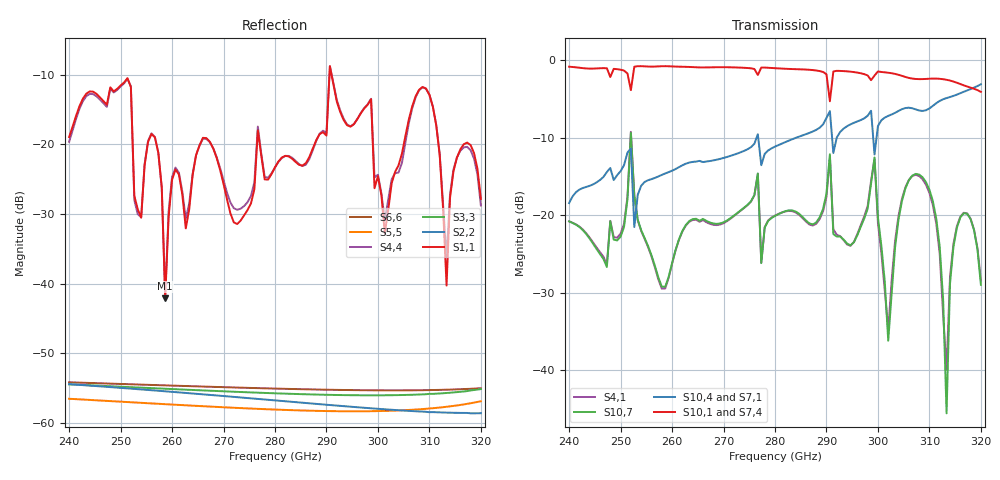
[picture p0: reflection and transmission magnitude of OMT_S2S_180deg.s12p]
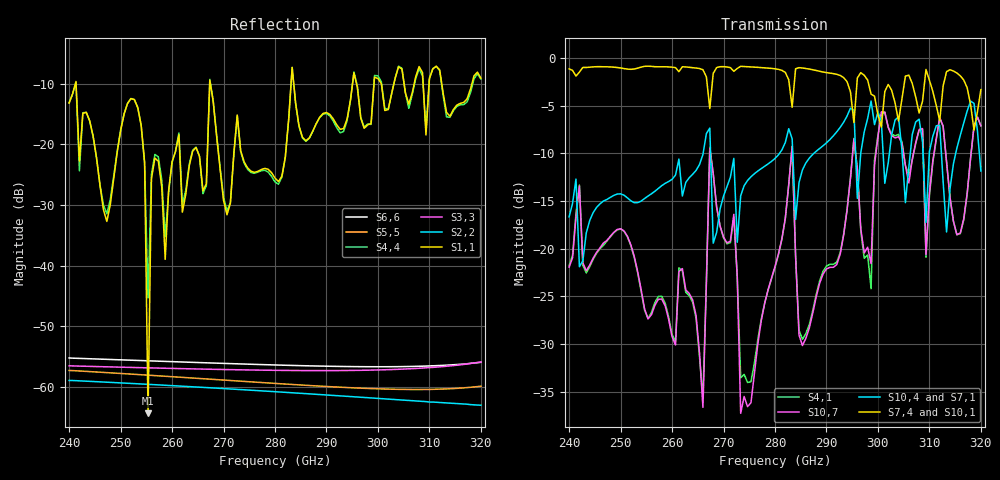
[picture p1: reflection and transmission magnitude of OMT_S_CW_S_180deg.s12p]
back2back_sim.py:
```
import numpy as np
import skrf as rf
import matplotlib.pyplot as plt
from pathlib import Path

def cascade_omts_vdi(S_single, wg_length_mm=None, freq_ghz=None):
    """
    VDI 측정 구조(Rect-Cir-Rect)를 위한 GSM 결합 함수
    S_single: 단일 OMT의 S9P 데이터 (N_freq, 9, 9)
    """
    num_f = S_single.shape[0]
    
    # 인덱스 설정 (요청하신 맵핑)
    # [0,1,2]: Cir 3 (내부) | [3,4,5]: Rect 1 (외부) | [6,7,8]: Rect 2 (외부)
    int_idx = np.array([0, 1, 2])
    ext_idx = np.array([3, 4, 5, 6, 7, 8])
    
    # 1. 단일 소자 행렬 분할
    S_AA = S_single[:, ext_idx[:, None], ext_idx]
    S_AB = S_single[:, ext_idx[:, None], int_idx]
    S_BA = S_single[:, int_idx[:, None], ext_idx]
    S_BB = S_single[:, int_idx[:, None], int_idx]
    
    # 2. 중간 원형 도파관 효과 (Phase Shift) 추가
    # 별도의 S-parameter 파일이 없다면 위상 천이 행렬 생성
    if wg_length_mm is not None and freq_ghz is not None:
        # 270GHz 대역 TE11 모드의 위상 정수 계산 (간략화)
        c = 299792458
        fc = 175e9 # 원형 도파관 TE11 Cutoff 예시
        beta = 2 * np.pi * (freq_ghz * 1e9) / c * np.sqrt(1 - (fc/(freq_ghz*1e9))**2)
        phi = np.exp(-1j * beta * (wg_length_mm / 1000))
        
        # 중간 도파관 S-행렬 (2포트 멀티모드)
        T_WG = np.zeros((num_f, 3, 3), dtype=complex)
        for i in range(3): T_WG[:, i, i] = phi
    else:
        T_WG = np.repeat(np.eye(3, dtype=complex)[None, :, :], num_f, axis=0) # 거리 0인 경우
    
    # 3. GSM 결합 수식 (Redheffer Star Product)
    I = np.eye(3).reshape(1, 3, 3)
    # OMT_A와 OMT_B(동일소자) 결합
    Gamma = np.linalg.inv(I - S_BB @ T_WG @ S_BB @ T_WG)
    
    # 송신측(OMT A) 외부포트 -> 수신측(OMT B) 외부포트 전송
    S21_sys = S_AB @ T_WG @ Gamma @ S_BA 
    # 송신측(OMT A) 외부포트에서 본 입력 반사(리턴로스/동측 아이솔레이션 계산에 사용)
    S11_sys = S_AA + S_AB @ T_WG @ Gamma @ S_BB @ T_WG @ S_BA
    
    return S21_sys, S11_sys

def db20(x, floor_db=-140.0):
    mag = np.maximum(np.abs(x), 10 ** (floor_db / 20.0))
    return 20.0 * np.log10(mag)


def interp_measured_to_pred(freq_pred_ghz, ntw_meas, out_port, in_port):
    freq_meas_ghz = ntw_meas.f / 1e9
    meas_db = db20(ntw_meas.s[:, out_port, in_port])
    return np.interp(freq_pred_ghz, freq_meas_ghz, meas_db)


def summarize_delta(freq_ghz, pred_db, meas_db, band_low=260.0, band_high=320.0):
    mask = (freq_ghz >= band_low) & (freq_ghz <= band_high)
    delta = pred_db[mask] - meas_db[mask]
    return {
        'mean_abs': float(np.mean(np.abs(delta))),
        'max_abs': float(np.max(np.abs(delta))),
        'rms': float(np.sqrt(np.mean(delta ** 2))),
    }


def run_case(single_name, b2b_name, case_label, freq_window=(260.0, 320.0)):
    base = Path(__file__).resolve().parent
    single_ntw = rf.Network(str(base / single_name))
    b2b_ntw = rf.Network(str(base / b2b_name))

    freqs_ghz = single_ntw.f / 1e9
    pred_s21, pred_s11 = cascade_omts_vdi(single_ntw.s, wg_length_mm=0.0, freq_ghz=freqs_ghz)

    # 단일 OMT (Rect1 입력 -> 원형편파 성분) 검증용
    # 6x6 기준 index 0=Rect1_TE10, index 3=Rect2_TE10
    single_co_db = db20((single_ntw.s[:, 0, 3] - 1j * single_ntw.s[:, 1, 3]) / np.sqrt(2.0))
    single_cross_db = db20((single_ntw.s[:, 0, 3] + 1j * single_ntw.s[:, 1, 3]) / np.sqrt(2.0))

    # B2B 예측(행렬) 기준
    # 사용자 피드백 반영: co/cross 라벨을 기존 대비 교정(서로 스왑)
    pred_co_db = db20(pred_s21[:, 3, 0])
    pred_cross_db = db20(pred_s21[:, 0, 0])

    # 입력 리턴로스/동측 아이솔레이션 (행렬 예측)
    pred_rl_db = db20(pred_s11[:, 0, 0])
    pred_iso_db = db20(pred_s11[:, 3, 0])

    # 12포트 EM(B2B) 기준 포트 선택: in=1번, co=10번, cross=7번 (1-based)
    meas_co_db = interp_measured_to_pred(freqs_ghz, b2b_ntw, out_port=9, in_port=0)
    meas_cross_db = interp_measured_to_pred(freqs_ghz, b2b_ntw, out_port=6, in_port=0)
    meas_rl_db = interp_measured_to_pred(freqs_ghz, b2b_ntw, out_port=0, in_port=0)
    meas_iso_db = interp_measured_to_pred(freqs_ghz, b2b_ntw, out_port=3, in_port=0)

    low, high = freq_window
    co_stats = summarize_delta(freqs_ghz, pred_co_db, meas_co_db, low, high)
    cross_stats = summarize_delta(freqs_ghz, pred_cross_db, meas_cross_db, low, high)

    return {
        'label': case_label,
        'freqs_ghz': freqs_ghz,
        'single_co_db': single_co_db,
        'single_cross_db': single_cross_db,
        'pred_co_db': pred_co_db,
        'pred_cross_db': pred_cross_db,
        'pred_rl_db': pred_rl_db,
        'pred_iso_db': pred_iso_db,
        'meas_co_db': meas_co_db,
        'meas_cross_db': meas_cross_db,
        'meas_rl_db': meas_rl_db,
        'meas_iso_db': meas_iso_db,
        'co_stats': co_stats,
        'cross_stats': cross_stats,
    }


def main():
    cases = [
        ('OMT_Square.s9p', 'OMT_S2S_180deg.s12p', 'Square OMT Pair'),
        ('OMT_CW.s9p', 'OMT_S_CW_S_180deg.s12p', 'CW OMT Pair'),
    ]

    results = [run_case(*case) for case in cases]

    # Figure 1: 단일 OMT 결과
    fig1, axes1 = plt.subplots(1, 2, figsize=(14, 5), sharey=True)
    for ax, result in zip(axes1, results):
        f = result['freqs_ghz']
        ax.plot(f, result['single_co_db'], label='Single OMT Co')
        ax.plot(f, result['single_cross_db'], label='Single OMT Cross')
        ax.set_title(result['label'])
        ax.set_xlabel('Frequency (GHz)')
        ax.grid(True, alpha=0.3)
        ax.legend(fontsize=8)
    axes1[0].set_ylabel('|S| (dB)')
    fig1.suptitle('Figure 1 - Single OMT Response')
    fig1.tight_layout()

    # Figure 2: Back-to-Back (Matrix vs EM)
    fig2, axes2 = plt.subplots(1, 2, figsize=(14, 5), sharey=True)
    for ax, result in zip(axes2, results):
        f = result['freqs_ghz']
        ax.plot(f, result['pred_co_db'], label='Matrix Co')
        ax.plot(f, result['meas_co_db'], '--', label='EM Co')
        ax.plot(f, result['pred_cross_db'], label='Matrix Cross')
        ax.plot(f, result['meas_cross_db'], '--', label='EM Cross')
        ax.set_title(result['label'])
        ax.set_xlabel('Frequency (GHz)')
        ax.grid(True, alpha=0.3)
        ax.legend(fontsize=8)
    axes2[0].set_ylabel('|S| (dB)')
    fig2.suptitle('Figure 2 - Back-to-Back: Matrix vs EM')
    fig2.tight_layout()

    # Figure 3: Return Loss + Isolation (Matrix vs EM)
    fig3, axes3 = plt.subplots(1, 2, figsize=(14, 5), sharey=True)
    for ax, result in zip(axes3, results):
        f = result['freqs_ghz']
        ax.plot(f, result['pred_rl_db'], label='Matrix Return Loss (S11)')
        ax.plot(f, result['meas_rl_db'], '--', label='EM Return Loss (S11)')
        ax.plot(f, result['pred_iso_db'], label='Matrix Isolation (S41)')
        ax.plot(f, result['meas_iso_db'], '--', label='EM Isolation (S41)')
        ax.set_title(result['label'])
        ax.set_xlabel('Frequency (GHz)')
        ax.grid(True, alpha=0.3)
        ax.legend(fontsize=8)
    axes3[0].set_ylabel('|S| (dB)')
    fig3.suptitle('Figure 3 - Return Loss and Isolation')
    fig3.tight_layout()

    out_dir = Path(__file__).resolve().parent
    fig1.savefig(out_dir / 'back2back_fig1_single_omt.png', dpi=160)
    fig2.savefig(out_dir / 'back2back_fig2_b2b_compare.png', dpi=160)
    fig3.savefig(out_dir / 'back2back_fig3_rl_iso.png', dpi=160)

    # 이전 단일 파일명도 유지 저장
    fig2.savefig(out_dir / 'back2back_comparison.png', dpi=160)

    print('=== OMT Back-to-Back Comparison Summary (260-320 GHz) ===')
    for result in results:
        print(f"[{result['label']}]")
        print(
            f"  Co-pol   | mean|Delta|={result['co_stats']['mean_abs']:.3f} dB, "
            f"max|Delta|={result['co_stats']['max_abs']:.3f} dB, "
            f"RMS={result['co_stats']['rms']:.3f} dB"
        )
        print(
            f"  Cross-pol| mean|Delta|={result['cross_stats']['mean_abs']:.3f} dB, "
            f"max|Delta|={result['cross_stats']['max_abs']:.3f} dB, "
            f"RMS={result['cross_stats']['rms']:.3f} dB"
        )

    print(f'Saved plot: {out_dir / "back2back_fig1_single_omt.png"}')
    print(f'Saved plot: {out_dir / "back2back_fig2_b2b_compare.png"}')
    print(f'Saved plot: {out_dir / "back2back_fig3_rl_iso.png"}')
    plt.show()


if __name__ == '__main__':
    main()
```
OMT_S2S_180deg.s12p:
! Touchstone file exported from HFSS 2021.1.0
!  File:  D:/ANSYS/HFSS_work/cp_ant/260204_Cir_to_Rect_STEP_v3_fin.aedt
!  Generated:  4:30:53 %xC624%xD6C4  4 22, 2026
!  Design:  cir_to_rect_OMT_v13_GA7_opt_STEP_exp_QN2_S2S_180deg
!  Project:  260204_Cir_to_Rect_STEP_v3_fin
!  Setup:  Setup1
!  Solution:  Sweep
! Variables:
!  diff_ws = 0.061mm
!  fil_r = 100um
!  h1 = 0.292mm
!  h2 = 0.134mm
!  h3 = 0.176mm
!  l1 = 0.527mm
!  l2 = 0.275mm
!  l3 = 0.459mm
!  l4 = 0.313mm
!  l5 = 0.285999999999997mm
!  mov_x = 1mm
!  r_r = 6mm
!  sep_h1 = 0.776mm
!  sep_h2 = 0.484mm
!  sep_h3 = 0.35mm
!  sep_h4 = 0.174mm
!  sep_l = 1.373mm
!  sep_l1 = 1.9mm
!  sep_l2 = 2.175mm
!  sep_l3 = 2.634mm
!  sep_l4 = 2.947mm
!  sep_ll = 0.2004mm
!  sep_ll2 = 0.2505mm
!  sep_ll3 = 1mm
!  sep_w = 0.137mm
!  tr_l = 1.002mm
!  wc_d = 0.9906mm
!  wc_l = 3.8259mm
!  wg_x = 20mm
!  wr_l = 3.7156mm
!  ws_x = 0.8636mm
!  ws_x1 = 0.898mm
!  ws_x2 = 0.776mm
!  ws_x3 = 0.898mm
!  ws_y2 = 0.898mm
!  ws_z = 0
!  wsc_l = 2mm
!Data is not renormalized
! Terminal data exported
! Port[1] = rec1:1
! Port[2] = rec1:2
! Port[3] = rec1:3
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# GHz S MA
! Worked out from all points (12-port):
!   121 points, 240 GHz to 320 GHz, reference per port
!   strongest paths, dB at 240 GHz, 260 GHz, 280 GHz, 300 GHz, 320 GHz:
!     S10,1: -0.9, -0.8, -1.1, -1.5, -4.1
!     S7,4: -0.9, -0.8, -1.1, -1.5, -4.1
!     S10,4: -18.4, -14.3, -11.2, -8.5, -3.1
!     S7,1: -18.4, -14.3, -11.2, -8.5, -3.1
!     S10,7: -20.8, -26.2, -20.1, -20.3, -29.0
!     S4,1: -20.8, -26.3, -20.0, -21.0, -28.4
!   lowest |S11| = -42.1 dB at 258.7 GHz (marker M1), VSWR 1.02
!   |S11| at or under -10 dB: start of sweep to 290.6 GHz; 291 GHz to end of sweep
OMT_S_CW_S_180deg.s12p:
! Touchstone file exported from HFSS 2021.1.0
!  File:  D:/ANSYS/HFSS_work/cp_ant/260204_Cir_to_Rect_STEP_v3_fin.aedt
!  Generated:  8:40:42 %xC624%xD6C4  4 22, 2026
!  Design:  cir_to_rect_OMT_v13_GA7_opt_STEP_exp_QN2_S_CW_S_180deg
!  Project:  260204_Cir_to_Rect_STEP_v3_fin
!  Setup:  Setup1
!  Solution:  Sweep
! Variables:
!  diff_ws = 0.0610877997211628mm
!  fil_r = 100um
!  h1 = 0.291824400557674mm
!  h2 = 0.134mm
!  h3 = 0.176mm
!  l1 = 0.527mm
!  l2 = 0.275mm
!  l3 = 0.459mm
!  l4 = 0.313mm
!  l5 = 0.285999999999997mm
!  mov_x = 1mm
!  r_r = 6mm
!  sep_h1 = 0.775824400557674mm
!  sep_h2 = 0.484mm
!  sep_h3 = 0.35mm
!  sep_h4 = 0.174mm
!  sep_l = 1.373mm
!  sep_l1 = 1.9mm
!  sep_l2 = 2.175mm
!  sep_l3 = 2.634mm
!  sep_l4 = 2.947mm
!  sep_ll = 0.2004mm
!  sep_ll2 = 0.2505mm
!  sep_ll3 = 1mm
!  sep_w = 0.137mm
!  tr_l = 1.002mm
!  wc_d = 0.9906mm
!  wc_l = 3.8259mm
!  wg_x = 20mm
!  wr_l = 3.7156mm
!  ws_x = 0.8636mm
!  ws_x1 = 0.898mm
!  ws_x2 = 0.775824400557674mm
!  ws_x3 = 0.898mm
!  ws_y2 = 0.898mm
!  ws_z = 0
!  wsc_l = 2mm
!Data is not renormalized
! Terminal data exported
! Port[1] = rec1:1
! Port[2] = rec1:2
! Port[3] = rec1:3
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# GHz S MA
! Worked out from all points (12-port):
!   121 points, 240 GHz to 320 GHz, reference per port
!   strongest paths, dB at 240 GHz, 260 GHz, 280 GHz, 300 GHz, 320 GHz:
!     S7,4: -1.1, -1.0, -1.1, -6.0, -3.3
!     S10,1: -1.1, -1.0, -1.1, -5.7, -3.4
!     S10,4: -16.7, -12.7, -10.5, -5.6, -11.9
!     S7,1: -16.8, -12.7, -10.5, -5.7, -11.9
!     S10,7: -21.9, -29.2, -21.9, -8.3, -7.1
!     S4,1: -21.8, -29.0, -22.0, -8.1, -7.1
!   lowest |S11| = -64.3 dB at 255.3 GHz (marker M1), VSWR 1.00
!   |S11| at or under -10 dB: 241.4 GHz to 267.3 GHz (25.96 GHz wide, 10.2 % of centre); 267.4 GHz to 283.1 GHz (15.68 GHz wide, 5.7 % of centre); 283.6 GHz to 295.1 GHz (11.43 GHz wide, 3.95 % of centre)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
